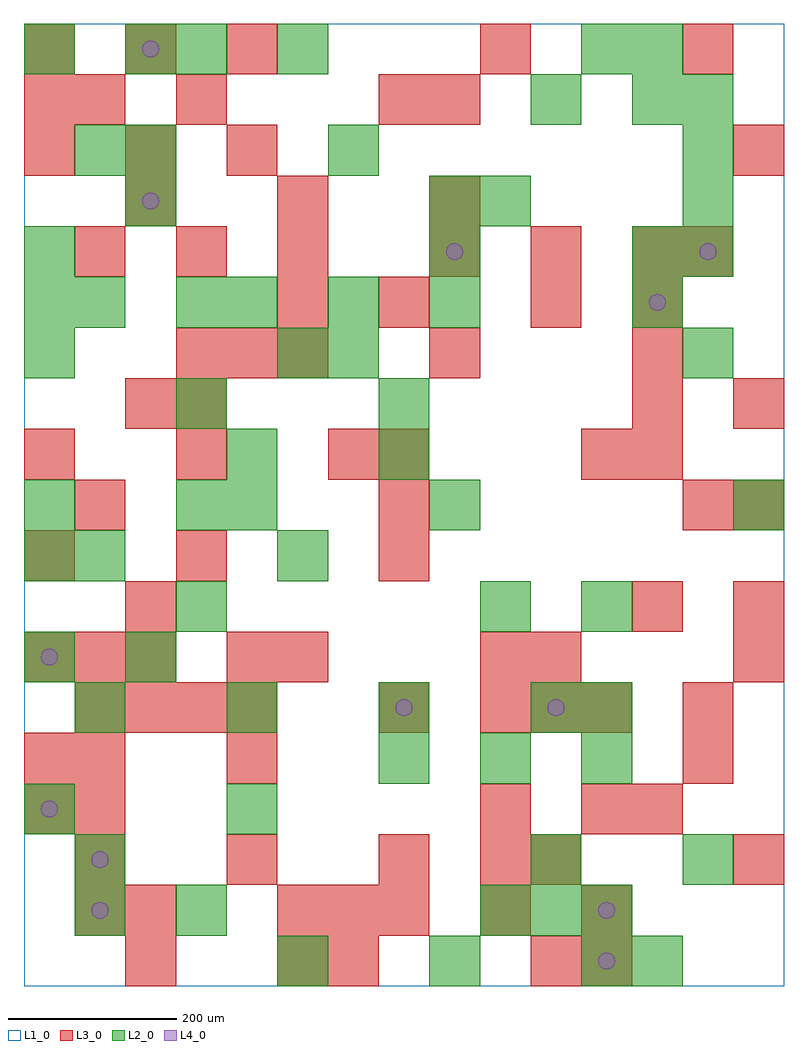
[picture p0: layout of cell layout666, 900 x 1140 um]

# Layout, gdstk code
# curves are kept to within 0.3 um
import gdstk
lib = gdstk.Library(unit=1e-6, precision=1e-09)
def R(c, l, rs):  # rectangles x0, y0, x1, y1
    for r in rs: c.add(gdstk.rectangle(r[:2], r[2:], *l))
def A(c, l, x, y, w, h, nx, ny, dx, dy):  # array of equal rectangles
    R(c, l, [(x+i*dx, y+j*dy, x+i*dx+w, y+j*dy+h) for i in range(nx) for j in range(ny)])
def P(c, l, *ps):  # polygons
    for p in ps: c.add(gdstk.Polygon(p, *l))
L1_0 = (1, 0)
L2_0 = (2, 0)
L3_0 = (3, 0)
L4_0 = (4, 0)

layout666 = lib.new_cell('layout666')
R(layout666, L1_0, [(0,0,900,1140)])
A(layout666, L2_0, 300, 0, 60, 60, 3, 1, 180, 0)
A(layout666, L2_0, 540, 60, 60, 60, 3, 1, 60, 0)
A(layout666, L2_0, 420, 240, 60, 60, 3, 1, 120, 0)
A(layout666, L2_0, 60, 300, 60, 60, 4, 1, 180, 0)
A(layout666, L2_0, 180, 420, 60, 60, 1, 4, 0, 120)
A(layout666, L2_0, 0, 720, 60, 60, 1, 3, 0, 60)
A(layout666, L2_0, 240, 780, 60, 60, 3, 1, 120, 0)
A(layout666, L2_0, 780, 840, 60, 60, 1, 4, 0, 60)
R(layout666, L2_0, [(720,0,780,60), (60,60,120,120), (180,60,240,120), (60,120,120,180), (600,120,660,180), (780,120,840,180), (0,180,60,240), (240,180,300,240), (660,300,720,360), (0,360,60,420), (120,360,180,420), (540,420,600,480), (660,420,720,480), (0,480,60,540), (60,480,120,540), (300,480,360,540), (0,540,60,600), (240,540,300,600), (480,540,540,600), (840,540,900,600), (240,600,300,660), (420,600,480,660), (420,660,480,720), (300,720,360,780), (360,720,420,780), (780,720,840,780), (60,780,120,840), (720,780,780,840), (480,840,540,900), (720,840,780,900), (120,900,180,960), (480,900,540,960), (540,900,600,960), (60,960,120,1020), (120,960,180,1020), (360,960,420,1020), (600,1020,660,1080), (720,1020,780,1080), (0,1080,60,1140), (120,1080,180,1140), (180,1080,240,1140), (300,1080,360,1140), (660,1080,720,1140), (720,1080,780,1140)])
A(layout666, L3_0, 300, 60, 60, 60, 3, 1, 60, 0)
A(layout666, L3_0, 540, 60, 60, 60, 1, 3, 0, 60)
A(layout666, L3_0, 60, 120, 60, 60, 3, 1, 180, 0)
A(layout666, L3_0, 60, 300, 60, 60, 4, 1, 60, 0)
A(layout666, L3_0, 540, 300, 60, 60, 3, 1, 60, 0)
A(layout666, L3_0, 0, 360, 60, 60, 3, 1, 60, 0)
A(layout666, L3_0, 840, 420, 60, 60, 1, 3, 0, 120)
A(layout666, L3_0, 60, 540, 60, 60, 3, 1, 360, 0)
A(layout666, L3_0, 0, 600, 60, 60, 3, 1, 180, 0)
A(layout666, L3_0, 720, 600, 60, 60, 1, 4, 0, 60)
A(layout666, L3_0, 180, 720, 60, 60, 3, 1, 60, 0)
A(layout666, L3_0, 60, 840, 60, 60, 3, 1, 120, 0)
A(layout666, L3_0, 480, 840, 60, 60, 3, 1, 120, 0)
A(layout666, L3_0, 120, 900, 60, 60, 3, 1, 180, 0)
A(layout666, L3_0, 0, 960, 60, 60, 3, 2, 120, 120)
R(layout666, L3_0, [(120,0,180,60), (300,0,360,60), (360,0,420,60), (600,0,660,60), (660,0,720,60), (60,60,120,120), (120,60,180,120), (660,60,720,120), (600,120,660,180), (840,120,900,180), (0,180,60,240), (60,180,120,240), (660,180,720,240), (720,180,780,240), (0,240,60,300), (60,240,120,300), (240,240,300,300), (780,240,840,300), (420,300,480,360), (780,300,840,360), (240,360,300,420), (300,360,360,420), (540,360,600,420), (600,360,660,420), (840,360,900,420), (120,420,180,480), (720,420,780,480), (0,480,60,540), (180,480,240,540), (420,480,480,540), (420,600,480,660), (660,600,720,660), (120,660,180,720), (180,660,240,720), (480,720,540,780), (300,780,360,840), (420,780,480,840), (600,780,660,840), (780,840,840,900), (840,960,900,1020), (0,1020,60,1080), (60,1020,120,1080), (180,1020,240,1080), (420,1020,480,1080), (480,1020,540,1080), (540,1080,600,1140), (780,1080,840,1140)])
P(layout666, L4_0, [(40,210),(39.239,213.827),(37.071,217.071),(33.827,219.239),(30,220),(26.173,219.239),(22.929,217.071),(20.761,213.827),(20,210),(20.761,206.173),(22.929,202.929),(26.173,200.761),(30,200),(33.827,200.761),(37.071,202.929),(39.239,206.173)],
  [(40,390),(39.239,393.827),(37.071,397.071),(33.827,399.239),(30,400),(26.173,399.239),(22.929,397.071),(20.761,393.827),(20,390),(20.761,386.173),(22.929,382.929),(26.173,380.761),(30,380),(33.827,380.761),(37.071,382.929),(39.239,386.173)],
  [(100,90),(99.239,93.827),(97.071,97.071),(93.827,99.239),(90,100),(86.173,99.239),(82.929,97.071),(80.761,93.827),(80,90),(80.761,86.173),(82.929,82.929),(86.173,80.761),(90,80),(93.827,80.761),(97.071,82.929),(99.239,86.173)],
  [(100,150),(99.239,153.827),(97.071,157.071),(93.827,159.239),(90,160),(86.173,159.239),(82.929,157.071),(80.761,153.827),(80,150),(80.761,146.173),(82.929,142.929),(86.173,140.761),(90,140),(93.827,140.761),(97.071,142.929),(99.239,146.173)],
  [(160,930),(159.239,933.827),(157.071,937.071),(153.827,939.239),(150,940),(146.173,939.239),(142.929,937.071),(140.761,933.827),(140,930),(140.761,926.173),(142.929,922.929),(146.173,920.761),(150,920),(153.827,920.761),(157.071,922.929),(159.239,926.173)],
  [(160,1110),(159.239,1113.827),(157.071,1117.071),(153.827,1119.239),(150,1120),(146.173,1119.239),(142.929,1117.071),(140.761,1113.827),(140,1110),(140.761,1106.173),(142.929,1102.929),(146.173,1100.761),(150,1100),(153.827,1100.761),(157.071,1102.929),(159.239,1106.173)],
  [(460,330),(459.239,333.827),(457.071,337.071),(453.827,339.239),(450,340),(446.173,339.239),(442.929,337.071),(440.761,333.827),(440,330),(440.761,326.173),(442.929,322.929),(446.173,320.761),(450,320),(453.827,320.761),(457.071,322.929),(459.239,326.173)],
  [(520,870),(519.239,873.827),(517.071,877.071),(513.827,879.239),(510,880),(506.173,879.239),(502.929,877.071),(500.761,873.827),(500,870),(500.761,866.173),(502.929,862.929),(506.173,860.761),(510,860),(513.827,860.761),(517.071,862.929),(519.239,866.173)],
  [(640,330),(639.239,333.827),(637.071,337.071),(633.827,339.239),(630,340),(626.173,339.239),(622.929,337.071),(620.761,333.827),(620,330),(620.761,326.173),(622.929,322.929),(626.173,320.761),(630,320),(633.827,320.761),(637.071,322.929),(639.239,326.173)],
  [(700,30),(699.239,33.827),(697.071,37.071),(693.827,39.239),(690,40),(686.173,39.239),(682.929,37.071),(680.761,33.827),(680,30),(680.761,26.173),(682.929,22.929),(686.173,20.761),(690,20),(693.827,20.761),(697.071,22.929),(699.239,26.173)],
  [(700,90),(699.239,93.827),(697.071,97.071),(693.827,99.239),(690,100),(686.173,99.239),(682.929,97.071),(680.761,93.827),(680,90),(680.761,86.173),(682.929,82.929),(686.173,80.761),(690,80),(693.827,80.761),(697.071,82.929),(699.239,86.173)],
  [(760,810),(759.239,813.827),(757.071,817.071),(753.827,819.239),(750,820),(746.173,819.239),(742.929,817.071),(740.761,813.827),(740,810),(740.761,806.173),(742.929,802.929),(746.173,800.761),(750,800),(753.827,800.761),(757.071,802.929),(759.239,806.173)],
  [(820,870),(819.239,873.827),(817.071,877.071),(813.827,879.239),(810,880),(806.173,879.239),(802.929,877.071),(800.761,873.827),(800,870),(800.761,866.173),(802.929,862.929),(806.173,860.761),(810,860),(813.827,860.761),(817.071,862.929),(819.239,866.173)])

lib.write_gds('layout666.gds')
